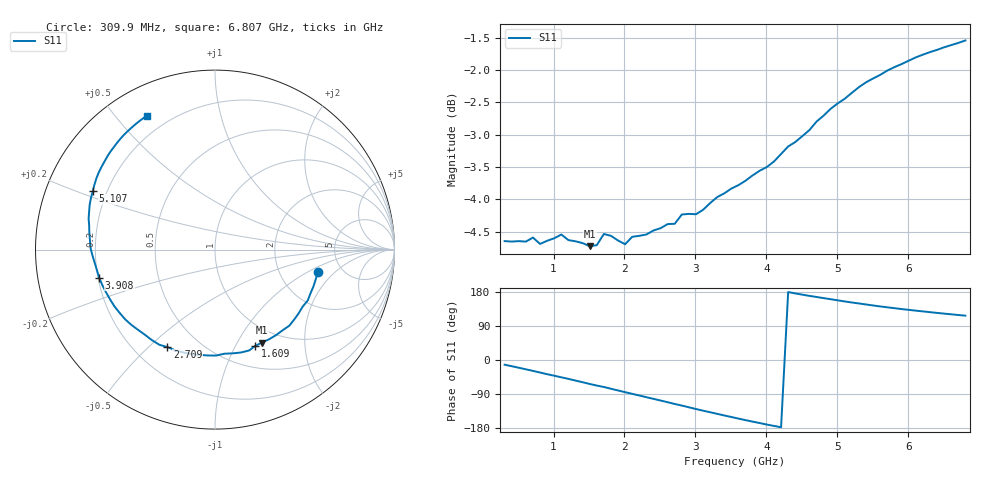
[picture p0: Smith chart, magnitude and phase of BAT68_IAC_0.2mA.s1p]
! Infineon Technologies  Discrete & RF Semiconductors
! BAT68
! IAC = 0.2 mA
! One-Port S-Parameters
# Hz  S  MA  R  50
!f  S11
!Hz  Mag  Ang
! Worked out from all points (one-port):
!   66 points, 309.9 MHz to 6.807 GHz, reference 50 ohm
!   lowest |S11| = -4.7 dB at 1.509 GHz (marker M1), VSWR 3.77, Z = 40.8 - j63.7 ohm
!   |S11| at or under -10 dB: nowhere
!   S11 on the Smith chart (normalised r, x): 309.9 MHz: 3.30, -1.26; 1.609 GHz: 0.74, -1.20; 2.709 GHz: 0.34, -0.57; 3.908 GHz: 0.20, -0.11; 5.107 GHz: 0.15, +0.22; 6.807 GHz: 0.12, +0.61
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3.0985e8  0.5857 -12.4
7.0965e8  0.5894 -28.7
8.096e8  0.5827 -33.1
1.10945e9  0.5926 -45.7
1.2094e9  0.5867 -49.8
1.50925e9  0.5804 -63.2
1.6092e9  0.5815 -67.5
1.70915e9  0.5931 -71.2
1.8091e9  0.5913 -75.8
2.009e9  0.5824 -84.9
2.10895e9  0.5902 -89.3
2.4088e9  0.5969 -102.6
2.6087e9  0.6037 -111.4
2.70865e9  0.6041 -116.0
2.8086e9  0.6141 -120.2
3.30835e9  0.6335 -142.1
3.6082e9  0.6472 -154.7
3.90805e9  0.664 -166.4
4.2079e9  0.684 -177.4
4.4078e9  0.6987 175.7
4.70765e9  0.7246 166.3
4.90755e9  0.7414 160.4
5.10745e9  0.7549 154.5
5.2074e9  0.7629 151.7
5.6072e9  0.7876 141.3
6.007e9  0.8076 132.3
6.4068e9  0.8234 124.3
6.8066e9  0.8373 117.0
